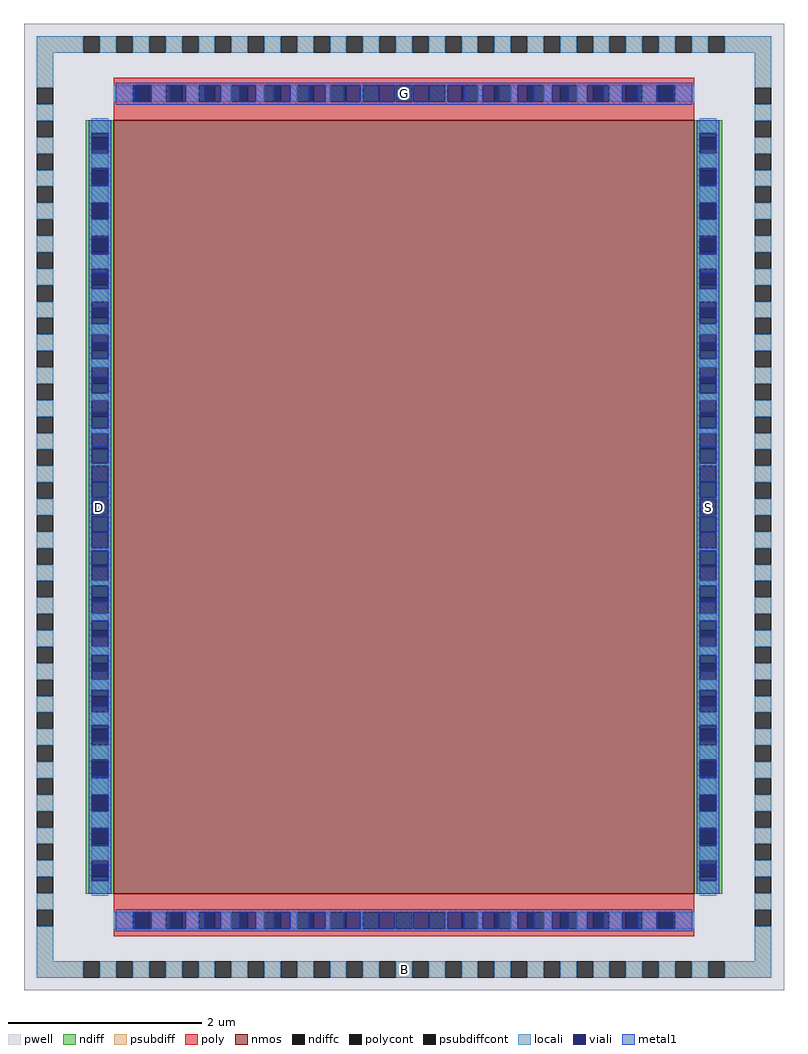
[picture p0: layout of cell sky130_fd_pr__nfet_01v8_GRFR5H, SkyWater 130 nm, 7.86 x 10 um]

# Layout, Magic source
magic
tech sky130A
magscale 1 2
<< pwell >>
rect -786 -1000 786 1000
<< nmos >>
rect -600 -800 600 800
<< ndiff >>
rect -658 765 -600 800
rect -658 731 -646 765
rect -612 731 -600 765
rect -658 697 -600 731
rect -658 663 -646 697
rect -612 663 -600 697
rect -658 629 -600 663
rect -658 595 -646 629
rect -612 595 -600 629
rect -658 561 -600 595
rect -658 527 -646 561
rect -612 527 -600 561
rect -658 493 -600 527
rect -658 459 -646 493
rect -612 459 -600 493
rect -658 425 -600 459
rect -658 391 -646 425
rect -612 391 -600 425
rect -658 357 -600 391
rect -658 323 -646 357
rect -612 323 -600 357
rect -658 289 -600 323
rect -658 255 -646 289
rect -612 255 -600 289
rect -658 221 -600 255
rect -658 187 -646 221
rect -612 187 -600 221
rect -658 153 -600 187
rect -658 119 -646 153
rect -612 119 -600 153
rect -658 85 -600 119
rect -658 51 -646 85
rect -612 51 -600 85
rect -658 17 -600 51
rect -658 -17 -646 17
rect -612 -17 -600 17
rect -658 -51 -600 -17
rect -658 -85 -646 -51
rect -612 -85 -600 -51
rect -658 -119 -600 -85
rect -658 -153 -646 -119
rect -612 -153 -600 -119
rect -658 -187 -600 -153
rect -658 -221 -646 -187
rect -612 -221 -600 -187
rect -658 -255 -600 -221
rect -658 -289 -646 -255
rect -612 -289 -600 -255
rect -658 -323 -600 -289
rect -658 -357 -646 -323
rect -612 -357 -600 -323
rect -658 -391 -600 -357
rect -658 -425 -646 -391
rect -612 -425 -600 -391
rect -658 -459 -600 -425
rect -658 -493 -646 -459
rect -612 -493 -600 -459
rect -658 -527 -600 -493
rect -658 -561 -646 -527
rect -612 -561 -600 -527
rect -658 -595 -600 -561
rect -658 -629 -646 -595
rect -612 -629 -600 -595
rect -658 -663 -600 -629
rect -658 -697 -646 -663
rect -612 -697 -600 -663
rect -658 -731 -600 -697
rect -658 -765 -646 -731
rect -612 -765 -600 -731
rect -658 -800 -600 -765
rect 600 765 658 800
rect 600 731 612 765
rect 646 731 658 765
rect 600 697 658 731
rect 600 663 612 697
rect 646 663 658 697
rect 600 629 658 663
rect 600 595 612 629
rect 646 595 658 629
rect 600 561 658 595
rect 600 527 612 561
rect 646 527 658 561
rect 600 493 658 527
rect 600 459 612 493
rect 646 459 658 493
rect 600 425 658 459
rect 600 391 612 425
rect 646 391 658 425
rect 600 357 658 391
rect 600 323 612 357
rect 646 323 658 357
rect 600 289 658 323
rect 600 255 612 289
rect 646 255 658 289
rect 600 221 658 255
rect 600 187 612 221
rect 646 187 658 221
rect 600 153 658 187
rect 600 119 612 153
rect 646 119 658 153
rect 600 85 658 119
rect 600 51 612 85
rect 646 51 658 85
rect 600 17 658 51
rect 600 -17 612 17
rect 646 -17 658 17
rect 600 -51 658 -17
rect 600 -85 612 -51
rect 646 -85 658 -51
rect 600 -119 658 -85
rect 600 -153 612 -119
rect 646 -153 658 -119
rect 600 -187 658 -153
rect 600 -221 612 -187
rect 646 -221 658 -187
rect 600 -255 658 -221
rect 600 -289 612 -255
rect 646 -289 658 -255
rect 600 -323 658 -289
rect 600 -357 612 -323
rect 646 -357 658 -323
rect 600 -391 658 -357
rect 600 -425 612 -391
rect 646 -425 658 -391
rect 600 -459 658 -425
rect 600 -493 612 -459
rect 646 -493 658 -459
rect 600 -527 658 -493
rect 600 -561 612 -527
rect 646 -561 658 -527
rect 600 -595 658 -561
rect 600 -629 612 -595
rect 646 -629 658 -595
rect 600 -663 658 -629
rect 600 -697 612 -663
rect 646 -697 658 -663
rect 600 -731 658 -697
rect 600 -765 612 -731
rect 646 -765 658 -731
rect 600 -800 658 -765
<< ndiffc >>
rect -646 731 -612 765
rect -646 663 -612 697
rect -646 595 -612 629
rect -646 527 -612 561
rect -646 459 -612 493
rect -646 391 -612 425
rect -646 323 -612 357
rect -646 255 -612 289
rect -646 187 -612 221
rect -646 119 -612 153
rect -646 51 -612 85
rect -646 -17 -612 17
rect -646 -85 -612 -51
rect -646 -153 -612 -119
rect -646 -221 -612 -187
rect -646 -289 -612 -255
rect -646 -357 -612 -323
rect -646 -425 -612 -391
rect -646 -493 -612 -459
rect -646 -561 -612 -527
rect -646 -629 -612 -595
rect -646 -697 -612 -663
rect -646 -765 -612 -731
rect 612 731 646 765
rect 612 663 646 697
rect 612 595 646 629
rect 612 527 646 561
rect 612 459 646 493
rect 612 391 646 425
rect 612 323 646 357
rect 612 255 646 289
rect 612 187 646 221
rect 612 119 646 153
rect 612 51 646 85
rect 612 -17 646 17
rect 612 -85 646 -51
rect 612 -153 646 -119
rect 612 -221 646 -187
rect 612 -289 646 -255
rect 612 -357 646 -323
rect 612 -425 646 -391
rect 612 -493 646 -459
rect 612 -561 646 -527
rect 612 -629 646 -595
rect 612 -697 646 -663
rect 612 -765 646 -731
<< psubdiff >>
rect -760 940 -663 974
rect -629 940 -595 974
rect -561 940 -527 974
rect -493 940 -459 974
rect -425 940 -391 974
rect -357 940 -323 974
rect -289 940 -255 974
rect -221 940 -187 974
rect -153 940 -119 974
rect -85 940 -51 974
rect -17 940 17 974
rect 51 940 85 974
rect 119 940 153 974
rect 187 940 221 974
rect 255 940 289 974
rect 323 940 357 974
rect 391 940 425 974
rect 459 940 493 974
rect 527 940 561 974
rect 595 940 629 974
rect 663 940 760 974
rect -760 867 -726 940
rect -760 799 -726 833
rect 726 867 760 940
rect -760 731 -726 765
rect -760 663 -726 697
rect -760 595 -726 629
rect -760 527 -726 561
rect -760 459 -726 493
rect -760 391 -726 425
rect -760 323 -726 357
rect -760 255 -726 289
rect -760 187 -726 221
rect -760 119 -726 153
rect -760 51 -726 85
rect -760 -17 -726 17
rect -760 -85 -726 -51
rect -760 -153 -726 -119
rect -760 -221 -726 -187
rect -760 -289 -726 -255
rect -760 -357 -726 -323
rect -760 -425 -726 -391
rect -760 -493 -726 -459
rect -760 -561 -726 -527
rect -760 -629 -726 -595
rect -760 -697 -726 -663
rect -760 -765 -726 -731
rect -760 -833 -726 -799
rect 726 799 760 833
rect 726 731 760 765
rect 726 663 760 697
rect 726 595 760 629
rect 726 527 760 561
rect 726 459 760 493
rect 726 391 760 425
rect 726 323 760 357
rect 726 255 760 289
rect 726 187 760 221
rect 726 119 760 153
rect 726 51 760 85
rect 726 -17 760 17
rect 726 -85 760 -51
rect 726 -153 760 -119
rect 726 -221 760 -187
rect 726 -289 760 -255
rect 726 -357 760 -323
rect 726 -425 760 -391
rect 726 -493 760 -459
rect 726 -561 760 -527
rect 726 -629 760 -595
rect 726 -697 760 -663
rect 726 -765 760 -731
rect -760 -940 -726 -867
rect 726 -833 760 -799
rect 726 -940 760 -867
rect -760 -974 -663 -940
rect -629 -974 -595 -940
rect -561 -974 -527 -940
rect -493 -974 -459 -940
rect -425 -974 -391 -940
rect -357 -974 -323 -940
rect -289 -974 -255 -940
rect -221 -974 -187 -940
rect -153 -974 -119 -940
rect -85 -974 -51 -940
rect -17 -974 17 -940
rect 51 -974 85 -940
rect 119 -974 153 -940
rect 187 -974 221 -940
rect 255 -974 289 -940
rect 323 -974 357 -940
rect 391 -974 425 -940
rect 459 -974 493 -940
rect 527 -974 561 -940
rect 595 -974 629 -940
rect 663 -974 760 -940
<< psubdiffcont >>
rect -663 940 -629 974
rect -595 940 -561 974
rect -527 940 -493 974
rect -459 940 -425 974
rect -391 940 -357 974
rect -323 940 -289 974
rect -255 940 -221 974
rect -187 940 -153 974
rect -119 940 -85 974
rect -51 940 -17 974
rect 17 940 51 974
rect 85 940 119 974
rect 153 940 187 974
rect 221 940 255 974
rect 289 940 323 974
rect 357 940 391 974
rect 425 940 459 974
rect 493 940 527 974
rect 561 940 595 974
rect 629 940 663 974
rect -760 833 -726 867
rect 726 833 760 867
rect -760 765 -726 799
rect -760 697 -726 731
rect -760 629 -726 663
rect -760 561 -726 595
rect -760 493 -726 527
rect -760 425 -726 459
rect -760 357 -726 391
rect -760 289 -726 323
rect -760 221 -726 255
rect -760 153 -726 187
rect -760 85 -726 119
rect -760 17 -726 51
rect -760 -51 -726 -17
rect -760 -119 -726 -85
rect -760 -187 -726 -153
rect -760 -255 -726 -221
rect -760 -323 -726 -289
rect -760 -391 -726 -357
rect -760 -459 -726 -425
rect -760 -527 -726 -493
rect -760 -595 -726 -561
rect -760 -663 -726 -629
rect -760 -731 -726 -697
rect -760 -799 -726 -765
rect 726 765 760 799
rect 726 697 760 731
rect 726 629 760 663
rect 726 561 760 595
rect 726 493 760 527
rect 726 425 760 459
rect 726 357 760 391
rect 726 289 760 323
rect 726 221 760 255
rect 726 153 760 187
rect 726 85 760 119
rect 726 17 760 51
rect 726 -51 760 -17
rect 726 -119 760 -85
rect 726 -187 760 -153
rect 726 -255 760 -221
rect 726 -323 760 -289
rect 726 -391 760 -357
rect 726 -459 760 -425
rect 726 -527 760 -493
rect 726 -595 760 -561
rect 726 -663 760 -629
rect 726 -731 760 -697
rect 726 -799 760 -765
rect -760 -867 -726 -833
rect 726 -867 760 -833
rect -663 -974 -629 -940
rect -595 -974 -561 -940
rect -527 -974 -493 -940
rect -459 -974 -425 -940
rect -391 -974 -357 -940
rect -323 -974 -289 -940
rect -255 -974 -221 -940
rect -187 -974 -153 -940
rect -119 -974 -85 -940
rect -51 -974 -17 -940
rect 17 -974 51 -940
rect 85 -974 119 -940
rect 153 -974 187 -940
rect 221 -974 255 -940
rect 289 -974 323 -940
rect 357 -974 391 -940
rect 425 -974 459 -940
rect 493 -974 527 -940
rect 561 -974 595 -940
rect 629 -974 663 -940
<< poly >>
rect -600 872 600 888
rect -600 838 -561 872
rect -527 838 -493 872
rect -459 838 -425 872
rect -391 838 -357 872
rect -323 838 -289 872
rect -255 838 -221 872
rect -187 838 -153 872
rect -119 838 -85 872
rect -51 838 -17 872
rect 17 838 51 872
rect 85 838 119 872
rect 153 838 187 872
rect 221 838 255 872
rect 289 838 323 872
rect 357 838 391 872
rect 425 838 459 872
rect 493 838 527 872
rect 561 838 600 872
rect -600 800 600 838
rect -600 -838 600 -800
rect -600 -872 -561 -838
rect -527 -872 -493 -838
rect -459 -872 -425 -838
rect -391 -872 -357 -838
rect -323 -872 -289 -838
rect -255 -872 -221 -838
rect -187 -872 -153 -838
rect -119 -872 -85 -838
rect -51 -872 -17 -838
rect 17 -872 51 -838
rect 85 -872 119 -838
rect 153 -872 187 -838
rect 221 -872 255 -838
rect 289 -872 323 -838
rect 357 -872 391 -838
rect 425 -872 459 -838
rect 493 -872 527 -838
rect 561 -872 600 -838
rect -600 -888 600 -872
<< polycont >>
rect -561 838 -527 872
rect -493 838 -459 872
rect -425 838 -391 872
rect -357 838 -323 872
rect -289 838 -255 872
rect -221 838 -187 872
rect -153 838 -119 872
rect -85 838 -51 872
rect -17 838 17 872
rect 51 838 85 872
rect 119 838 153 872
rect 187 838 221 872
rect 255 838 289 872
rect 323 838 357 872
rect 391 838 425 872
rect 459 838 493 872
rect 527 838 561 872
rect -561 -872 -527 -838
rect -493 -872 -459 -838
rect -425 -872 -391 -838
rect -357 -872 -323 -838
rect -289 -872 -255 -838
rect -221 -872 -187 -838
rect -153 -872 -119 -838
rect -85 -872 -51 -838
rect -17 -872 17 -838
rect 51 -872 85 -838
rect 119 -872 153 -838
rect 187 -872 221 -838
rect 255 -872 289 -838
rect 323 -872 357 -838
rect 391 -872 425 -838
rect 459 -872 493 -838
rect 527 -872 561 -838
<< locali >>
rect -760 940 -663 974
rect -629 940 -595 974
rect -561 940 -527 974
rect -493 940 -459 974
rect -425 940 -391 974
rect -357 940 -323 974
rect -289 940 -255 974
rect -221 940 -187 974
rect -153 940 -119 974
rect -85 940 -51 974
rect -17 940 17 974
rect 51 940 85 974
rect 119 940 153 974
rect 187 940 221 974
rect 255 940 289 974
rect 323 940 357 974
rect 391 940 425 974
rect 459 940 493 974
rect 527 940 561 974
rect 595 940 629 974
rect 663 940 760 974
rect -760 867 -726 940
rect -600 838 -561 872
rect -523 838 -493 872
rect -451 838 -425 872
rect -379 838 -357 872
rect -307 838 -289 872
rect -235 838 -221 872
rect -163 838 -153 872
rect -91 838 -85 872
rect -19 838 -17 872
rect 17 838 19 872
rect 85 838 91 872
rect 153 838 163 872
rect 221 838 235 872
rect 289 838 307 872
rect 357 838 379 872
rect 425 838 451 872
rect 493 838 523 872
rect 561 838 600 872
rect 726 867 760 940
rect -760 799 -726 833
rect -760 731 -726 765
rect -760 663 -726 697
rect -760 595 -726 629
rect -760 527 -726 561
rect -760 459 -726 493
rect -760 391 -726 425
rect -760 323 -726 357
rect -760 255 -726 289
rect -760 187 -726 221
rect -760 119 -726 153
rect -760 51 -726 85
rect -760 -17 -726 17
rect -760 -85 -726 -51
rect -760 -153 -726 -119
rect -760 -221 -726 -187
rect -760 -289 -726 -255
rect -760 -357 -726 -323
rect -760 -425 -726 -391
rect -760 -493 -726 -459
rect -760 -561 -726 -527
rect -760 -629 -726 -595
rect -760 -697 -726 -663
rect -760 -765 -726 -731
rect -760 -833 -726 -799
rect -646 773 -612 804
rect -646 701 -612 731
rect -646 629 -612 663
rect -646 561 -612 595
rect -646 493 -612 523
rect -646 425 -612 451
rect -646 357 -612 379
rect -646 289 -612 307
rect -646 221 -612 235
rect -646 153 -612 163
rect -646 85 -612 91
rect -646 17 -612 19
rect -646 -19 -612 -17
rect -646 -91 -612 -85
rect -646 -163 -612 -153
rect -646 -235 -612 -221
rect -646 -307 -612 -289
rect -646 -379 -612 -357
rect -646 -451 -612 -425
rect -646 -523 -612 -493
rect -646 -595 -612 -561
rect -646 -663 -612 -629
rect -646 -731 -612 -701
rect -646 -804 -612 -773
rect 612 773 646 804
rect 612 701 646 731
rect 612 629 646 663
rect 612 561 646 595
rect 612 493 646 523
rect 612 425 646 451
rect 612 357 646 379
rect 612 289 646 307
rect 612 221 646 235
rect 612 153 646 163
rect 612 85 646 91
rect 612 17 646 19
rect 612 -19 646 -17
rect 612 -91 646 -85
rect 612 -163 646 -153
rect 612 -235 646 -221
rect 612 -307 646 -289
rect 612 -379 646 -357
rect 612 -451 646 -425
rect 612 -523 646 -493
rect 612 -595 646 -561
rect 612 -663 646 -629
rect 612 -731 646 -701
rect 612 -804 646 -773
rect 726 799 760 833
rect 726 731 760 765
rect 726 663 760 697
rect 726 595 760 629
rect 726 527 760 561
rect 726 459 760 493
rect 726 391 760 425
rect 726 323 760 357
rect 726 255 760 289
rect 726 187 760 221
rect 726 119 760 153
rect 726 51 760 85
rect 726 -17 760 17
rect 726 -85 760 -51
rect 726 -153 760 -119
rect 726 -221 760 -187
rect 726 -289 760 -255
rect 726 -357 760 -323
rect 726 -425 760 -391
rect 726 -493 760 -459
rect 726 -561 760 -527
rect 726 -629 760 -595
rect 726 -697 760 -663
rect 726 -765 760 -731
rect 726 -833 760 -799
rect -760 -940 -726 -867
rect -600 -872 -561 -838
rect -523 -872 -493 -838
rect -451 -872 -425 -838
rect -379 -872 -357 -838
rect -307 -872 -289 -838
rect -235 -872 -221 -838
rect -163 -872 -153 -838
rect -91 -872 -85 -838
rect -19 -872 -17 -838
rect 17 -872 19 -838
rect 85 -872 91 -838
rect 153 -872 163 -838
rect 221 -872 235 -838
rect 289 -872 307 -838
rect 357 -872 379 -838
rect 425 -872 451 -838
rect 493 -872 523 -838
rect 561 -872 600 -838
rect 726 -940 760 -867
rect -760 -974 -663 -940
rect -629 -974 -595 -940
rect -561 -974 -527 -940
rect -493 -974 -459 -940
rect -425 -974 -391 -940
rect -357 -974 -323 -940
rect -289 -974 -255 -940
rect -221 -974 -187 -940
rect -153 -974 -119 -940
rect -85 -974 -51 -940
rect -17 -974 17 -940
rect 51 -974 85 -940
rect 119 -974 153 -940
rect 187 -974 221 -940
rect 255 -974 289 -940
rect 323 -974 357 -940
rect 391 -974 425 -940
rect 459 -974 493 -940
rect 527 -974 561 -940
rect 595 -974 629 -940
rect 663 -974 760 -940
<< viali >>
rect -557 838 -527 872
rect -527 838 -523 872
rect -485 838 -459 872
rect -459 838 -451 872
rect -413 838 -391 872
rect -391 838 -379 872
rect -341 838 -323 872
rect -323 838 -307 872
rect -269 838 -255 872
rect -255 838 -235 872
rect -197 838 -187 872
rect -187 838 -163 872
rect -125 838 -119 872
rect -119 838 -91 872
rect -53 838 -51 872
rect -51 838 -19 872
rect 19 838 51 872
rect 51 838 53 872
rect 91 838 119 872
rect 119 838 125 872
rect 163 838 187 872
rect 187 838 197 872
rect 235 838 255 872
rect 255 838 269 872
rect 307 838 323 872
rect 323 838 341 872
rect 379 838 391 872
rect 391 838 413 872
rect 451 838 459 872
rect 459 838 485 872
rect 523 838 527 872
rect 527 838 557 872
rect -646 765 -612 773
rect -646 739 -612 765
rect -646 697 -612 701
rect -646 667 -612 697
rect -646 595 -612 629
rect -646 527 -612 557
rect -646 523 -612 527
rect -646 459 -612 485
rect -646 451 -612 459
rect -646 391 -612 413
rect -646 379 -612 391
rect -646 323 -612 341
rect -646 307 -612 323
rect -646 255 -612 269
rect -646 235 -612 255
rect -646 187 -612 197
rect -646 163 -612 187
rect -646 119 -612 125
rect -646 91 -612 119
rect -646 51 -612 53
rect -646 19 -612 51
rect -646 -51 -612 -19
rect -646 -53 -612 -51
rect -646 -119 -612 -91
rect -646 -125 -612 -119
rect -646 -187 -612 -163
rect -646 -197 -612 -187
rect -646 -255 -612 -235
rect -646 -269 -612 -255
rect -646 -323 -612 -307
rect -646 -341 -612 -323
rect -646 -391 -612 -379
rect -646 -413 -612 -391
rect -646 -459 -612 -451
rect -646 -485 -612 -459
rect -646 -527 -612 -523
rect -646 -557 -612 -527
rect -646 -629 -612 -595
rect -646 -697 -612 -667
rect -646 -701 -612 -697
rect -646 -765 -612 -739
rect -646 -773 -612 -765
rect 612 765 646 773
rect 612 739 646 765
rect 612 697 646 701
rect 612 667 646 697
rect 612 595 646 629
rect 612 527 646 557
rect 612 523 646 527
rect 612 459 646 485
rect 612 451 646 459
rect 612 391 646 413
rect 612 379 646 391
rect 612 323 646 341
rect 612 307 646 323
rect 612 255 646 269
rect 612 235 646 255
rect 612 187 646 197
rect 612 163 646 187
rect 612 119 646 125
rect 612 91 646 119
rect 612 51 646 53
rect 612 19 646 51
rect 612 -51 646 -19
rect 612 -53 646 -51
rect 612 -119 646 -91
rect 612 -125 646 -119
rect 612 -187 646 -163
rect 612 -197 646 -187
rect 612 -255 646 -235
rect 612 -269 646 -255
rect 612 -323 646 -307
rect 612 -341 646 -323
rect 612 -391 646 -379
rect 612 -413 646 -391
rect 612 -459 646 -451
rect 612 -485 646 -459
rect 612 -527 646 -523
rect 612 -557 646 -527
rect 612 -629 646 -595
rect 612 -697 646 -667
rect 612 -701 646 -697
rect 612 -765 646 -739
rect 612 -773 646 -765
rect -557 -872 -527 -838
rect -527 -872 -523 -838
rect -485 -872 -459 -838
rect -459 -872 -451 -838
rect -413 -872 -391 -838
rect -391 -872 -379 -838
rect -341 -872 -323 -838
rect -323 -872 -307 -838
rect -269 -872 -255 -838
rect -255 -872 -235 -838
rect -197 -872 -187 -838
rect -187 -872 -163 -838
rect -125 -872 -119 -838
rect -119 -872 -91 -838
rect -53 -872 -51 -838
rect -51 -872 -19 -838
rect 19 -872 51 -838
rect 51 -872 53 -838
rect 91 -872 119 -838
rect 119 -872 125 -838
rect 163 -872 187 -838
rect 187 -872 197 -838
rect 235 -872 255 -838
rect 255 -872 269 -838
rect 307 -872 323 -838
rect 323 -872 341 -838
rect 379 -872 391 -838
rect 391 -872 413 -838
rect 451 -872 459 -838
rect 459 -872 485 -838
rect 523 -872 527 -838
rect 527 -872 557 -838
<< metal1 >>
rect -596 872 596 878
rect -596 838 -557 872
rect -523 838 -485 872
rect -451 838 -413 872
rect -379 838 -341 872
rect -307 838 -269 872
rect -235 838 -197 872
rect -163 838 -125 872
rect -91 838 -53 872
rect -19 838 19 872
rect 53 838 91 872
rect 125 838 163 872
rect 197 838 235 872
rect 269 838 307 872
rect 341 838 379 872
rect 413 838 451 872
rect 485 838 523 872
rect 557 838 596 872
rect -596 832 596 838
rect -652 773 -606 800
rect -652 739 -646 773
rect -612 739 -606 773
rect -652 701 -606 739
rect -652 667 -646 701
rect -612 667 -606 701
rect -652 629 -606 667
rect -652 595 -646 629
rect -612 595 -606 629
rect -652 557 -606 595
rect -652 523 -646 557
rect -612 523 -606 557
rect -652 485 -606 523
rect -652 451 -646 485
rect -612 451 -606 485
rect -652 413 -606 451
rect -652 379 -646 413
rect -612 379 -606 413
rect -652 341 -606 379
rect -652 307 -646 341
rect -612 307 -606 341
rect -652 269 -606 307
rect -652 235 -646 269
rect -612 235 -606 269
rect -652 197 -606 235
rect -652 163 -646 197
rect -612 163 -606 197
rect -652 125 -606 163
rect -652 91 -646 125
rect -612 91 -606 125
rect -652 53 -606 91
rect -652 19 -646 53
rect -612 19 -606 53
rect -652 -19 -606 19
rect -652 -53 -646 -19
rect -612 -53 -606 -19
rect -652 -91 -606 -53
rect -652 -125 -646 -91
rect -612 -125 -606 -91
rect -652 -163 -606 -125
rect -652 -197 -646 -163
rect -612 -197 -606 -163
rect -652 -235 -606 -197
rect -652 -269 -646 -235
rect -612 -269 -606 -235
rect -652 -307 -606 -269
rect -652 -341 -646 -307
rect -612 -341 -606 -307
rect -652 -379 -606 -341
rect -652 -413 -646 -379
rect -612 -413 -606 -379
rect -652 -451 -606 -413
rect -652 -485 -646 -451
rect -612 -485 -606 -451
rect -652 -523 -606 -485
rect -652 -557 -646 -523
rect -612 -557 -606 -523
rect -652 -595 -606 -557
rect -652 -629 -646 -595
rect -612 -629 -606 -595
rect -652 -667 -606 -629
rect -652 -701 -646 -667
rect -612 -701 -606 -667
rect -652 -739 -606 -701
rect -652 -773 -646 -739
rect -612 -773 -606 -739
rect -652 -800 -606 -773
rect 606 773 652 800
rect 606 739 612 773
rect 646 739 652 773
rect 606 701 652 739
rect 606 667 612 701
rect 646 667 652 701
rect 606 629 652 667
rect 606 595 612 629
rect 646 595 652 629
rect 606 557 652 595
rect 606 523 612 557
rect 646 523 652 557
rect 606 485 652 523
rect 606 451 612 485
rect 646 451 652 485
rect 606 413 652 451
rect 606 379 612 413
rect 646 379 652 413
rect 606 341 652 379
rect 606 307 612 341
rect 646 307 652 341
rect 606 269 652 307
rect 606 235 612 269
rect 646 235 652 269
rect 606 197 652 235
rect 606 163 612 197
rect 646 163 652 197
rect 606 125 652 163
rect 606 91 612 125
rect 646 91 652 125
rect 606 53 652 91
rect 606 19 612 53
rect 646 19 652 53
rect 606 -19 652 19
rect 606 -53 612 -19
rect 646 -53 652 -19
rect 606 -91 652 -53
rect 606 -125 612 -91
rect 646 -125 652 -91
rect 606 -163 652 -125
rect 606 -197 612 -163
rect 646 -197 652 -163
rect 606 -235 652 -197
rect 606 -269 612 -235
rect 646 -269 652 -235
rect 606 -307 652 -269
rect 606 -341 612 -307
rect 646 -341 652 -307
rect 606 -379 652 -341
rect 606 -413 612 -379
rect 646 -413 652 -379
rect 606 -451 652 -413
rect 606 -485 612 -451
rect 646 -485 652 -451
rect 606 -523 652 -485
rect 606 -557 612 -523
rect 646 -557 652 -523
rect 606 -595 652 -557
rect 606 -629 612 -595
rect 646 -629 652 -595
rect 606 -667 652 -629
rect 606 -701 612 -667
rect 646 -701 652 -667
rect 606 -739 652 -701
rect 606 -773 612 -739
rect 646 -773 652 -739
rect 606 -800 652 -773
rect -596 -838 596 -832
rect -596 -872 -557 -838
rect -523 -872 -485 -838
rect -451 -872 -413 -838
rect -379 -872 -341 -838
rect -307 -872 -269 -838
rect -235 -872 -197 -838
rect -163 -872 -125 -838
rect -91 -872 -53 -838
rect -19 -872 19 -838
rect 53 -872 91 -838
rect 125 -872 163 -838
rect 197 -872 235 -838
rect 269 -872 307 -838
rect 341 -872 379 -838
rect 413 -872 451 -838
rect 485 -872 523 -838
rect 557 -872 596 -838
rect -596 -878 596 -872
<< labels >>
rlabel locali s 0 -957 0 -957 4 B
rlabel locali s -629 0 -629 0 4 D
rlabel locali s 629 0 629 0 4 S
rlabel locali s 0 855 0 855 4 G
<< properties >>
string FIXED_BBOX -743 -957 743 957
<< end >>
